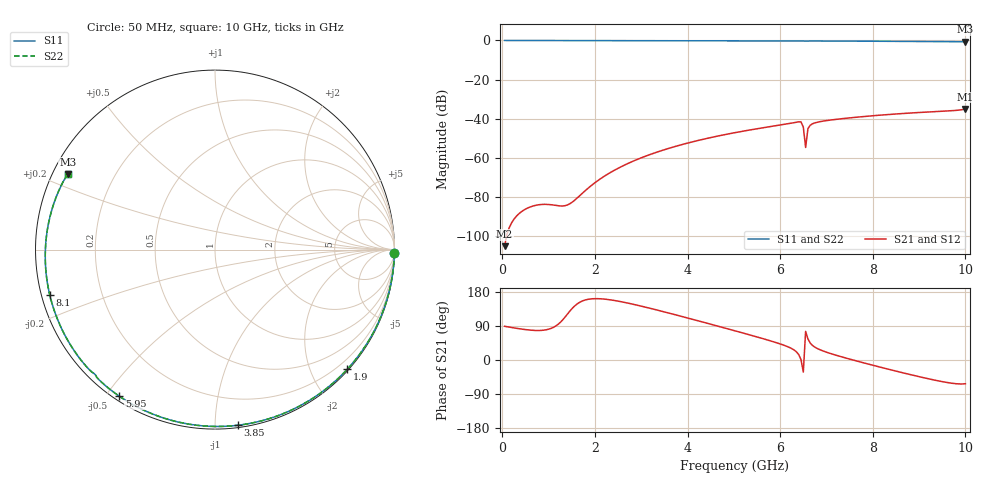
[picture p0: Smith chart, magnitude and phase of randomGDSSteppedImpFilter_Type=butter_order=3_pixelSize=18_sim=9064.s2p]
! freq	dB(S11)	phase(S11)	dB(S12)	phase(S12)
!  dB(S21)	phase(S21)	dB(S22)	phase(S22)
!S-par simulation data
#  GHz  S  DB  R 50
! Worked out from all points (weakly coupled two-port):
!   200 points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, 50 MHz to 10 GHz, reference 50 ohm
!   highest |S21| = -35.07 dB at 10 GHz (marker M1); lowest = -105.2 dB at 50 MHz (marker M2)
!   lowest |S11| = -0.7 dB at 10 GHz (marker M3), VSWR 24.72, Z = 2.14 + j12 ohm
!   |S11| at or under -10 dB: nowhere
!   |S22| runs from -0.7 to 0.0 dB; largest |S21 - S12| = 0
!   S11 on the Smith chart (normalised r, x): 50 MHz: open; 1.9 GHz: 0.02, -2.60; 3.85 GHz: 0.02, -1.14; 5.95 GHz: 0.02, -0.54; 8.1 GHz: 0.02, -0.14; 10 GHz: 0.04, +0.24
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0.05  -0.00 -1.1  -105.21 88.9  -105.21 88.9  -0.00 -1.1
0.8  -0.02 -18.0  -84.00 77.8  -84.00 77.8  -0.02 -18.0
1.6  -0.05 -35.6  -80.94 146.4  -80.94 146.4  -0.05 -35.6
1.65  -0.05 -36.7  -79.87 150.7  -79.87 150.7  -0.05 -36.7
1.75  -0.05 -38.9  -77.70 156.7  -77.70 156.7  -0.05 -38.9
1.9  -0.05 -42.1  -74.64 161.1  -74.64 161.1  -0.05 -42.1
2.2  -0.06 -48.5  -69.48 160.8  -69.48 160.8  -0.06 -48.5
2.55  -0.07 -55.9  -64.77 154.2  -64.77 154.2  -0.07 -56.0
3.4  -0.10 -73.5  -56.63 130.1  -56.63 130.1  -0.10 -73.5
3.85  -0.11 -82.5  -53.44 115.8  -53.44 115.8  -0.11 -82.6
5.05  -0.16 -105.9  -47.04 76.2  -47.04 76.2  -0.16 -106.0
5.95  -0.22 -123.1  -43.45 44.5  -43.45 44.5  -0.22 -123.1
6.45  -0.27 -132.8  -41.65 1.2  -41.65 1.2  -0.27 -132.8
6.5  -0.31 -133.7  -44.28 -31.8  -44.28 -31.8  -0.32 -133.8
6.55  -0.31 -134.3  -54.74 75.5  -54.74 75.5  -0.32 -134.3
6.6  -0.28 -135.2  -45.12 55.5  -45.12 55.5  -0.29 -135.2
6.7  -0.28 -137.2  -42.60 38.3  -42.60 38.3  -0.28 -137.2
7.1  -0.30 -144.9  -40.67 16.6  -40.67 16.6  -0.31 -144.9
8.1  -0.40 -164.6  -38.32 -17.0  -38.32 -17.0  -0.40 -164.6
8.35  -0.43 -169.7  -37.86 -24.7  -37.86 -24.7  -0.43 -169.8
9.25  -0.55 170.9  -36.51 -50.9  -36.51 -50.9  -0.55 170.9
10  -0.70 152.9  -35.07 -62.6  -35.07 -62.6  -0.70 152.8
